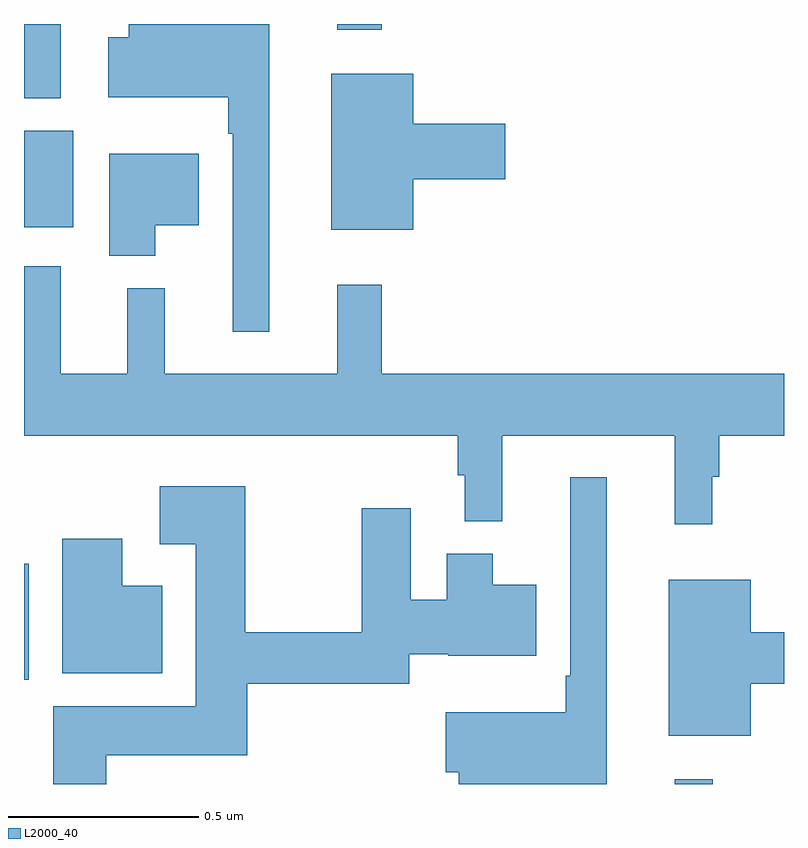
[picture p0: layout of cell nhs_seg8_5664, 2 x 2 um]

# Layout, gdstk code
import gdstk
lib = gdstk.Library(unit=1e-6, precision=1e-09)
def R(c, l, rs):  # rectangles x0, y0, x1, y1
    for r in rs: c.add(gdstk.rectangle(r[:2], r[2:], *l))
def P(c, l, *ps):  # polygons
    for p in ps: c.add(gdstk.Polygon(p, *l))
L2000_40 = (2000, 40)

nhs_seg8_5664 = lib.new_cell('nhs_seg8_5664')
R(nhs_seg8_5664, L2000_40, [(187.712,1132.9,187.812,1132.912), (186,1133.174,186.013,1133.479), (186,1134.365,186.13,1134.619), (186,1134.704,186.097,1134.9), (186.824,1134.885,186.941,1134.9)])
P(nhs_seg8_5664, L2000_40, [(186.646,1134.9),(186.275,1134.9),(186.275,1134.865),(186.222,1134.865),(186.222,1134.707),(186.537,1134.707),(186.537,1134.611),(186.549,1134.611),(186.549,1134.09),(186.646,1134.09)],
  [(187.024,1134.491),(187.267,1134.491),(187.267,1134.638),(187.024,1134.638),(187.024,1134.769),(186.809,1134.769),(186.809,1134.359),(187.024,1134.359)],
  [(186.346,1134.371),(186.46,1134.371),(186.46,1134.559),(186.224,1134.559),(186.224,1134.29),(186.346,1134.29)],
  [(187.811,1133.708),(187.829,1133.708),(187.829,1133.816),(188,1133.816),(188,1133.98),(186.941,1133.98),(186.941,1134.214),(186.824,1134.214),(186.824,1133.98),(186.371,1133.98),(186.371,1134.205),(186.272,1134.205),(186.272,1133.98),(186.097,1133.98),(186.097,1134.262),(186,1134.262),(186,1133.816),(187.141,1133.816),(187.141,1133.713),(187.16,1133.713),(187.16,1133.591),(187.259,1133.591),(187.259,1133.816),(187.712,1133.816),(187.712,1133.583),(187.811,1133.583)],
  [(187.534,1133.707),(187.437,1133.707),(187.437,1133.185),(187.425,1133.185),(187.425,1133.089),(187.11,1133.089),(187.11,1132.931),(187.144,1132.931),(187.144,1132.9),(187.534,1132.9)],
  [(186.217,1132.976),(186.587,1132.976),(186.587,1133.164),(187.014,1133.164),(187.014,1133.241),(187.116,1133.241),(187.116,1133.237),(187.348,1133.237),(187.348,1133.425),(187.234,1133.425),(187.234,1133.506),(187.112,1133.506),(187.112,1133.385),(187.018,1133.385),(187.018,1133.626),(186.889,1133.626),(186.889,1133.3),(186.582,1133.3),(186.582,1133.683),(186.357,1133.683),(186.357,1133.531),(186.452,1133.531),(186.452,1133.104),(186.077,1133.104),(186.077,1132.9),(186.217,1132.9)],
  [(186.364,1133.422),(186.259,1133.422),(186.259,1133.545),(186.101,1133.545),(186.101,1133.192),(186.364,1133.192)],
  [(187.912,1133.164),(188,1133.164),(188,1133.3),(187.912,1133.3),(187.912,1133.437),(187.697,1133.437),(187.697,1133.027),(187.912,1133.027)])

lib.write_gds('nhs_seg8_5664.gds')
